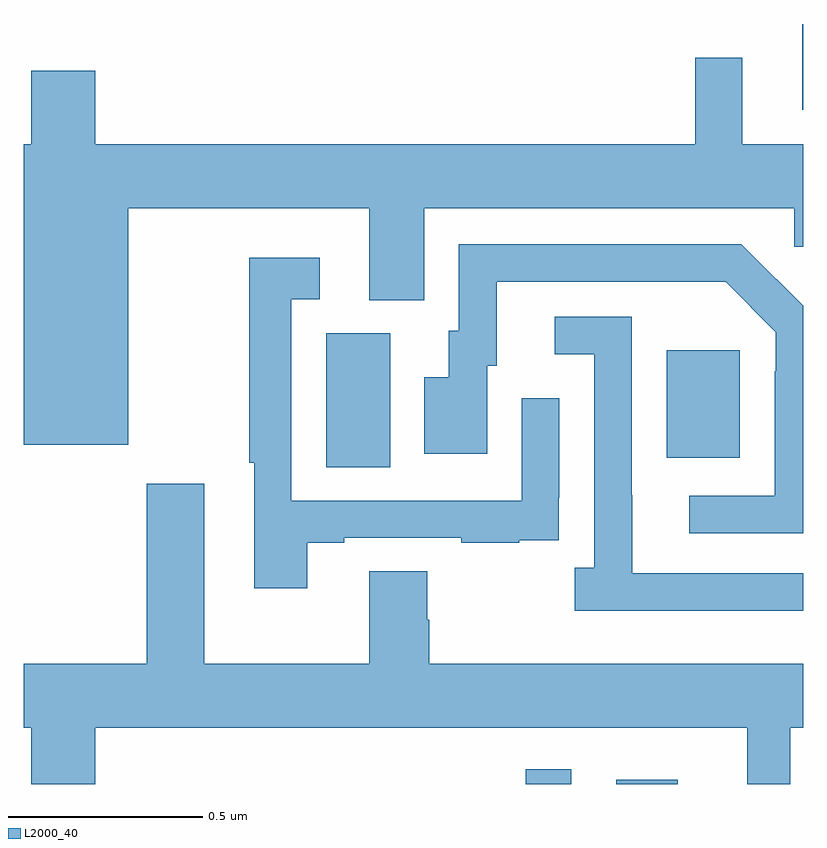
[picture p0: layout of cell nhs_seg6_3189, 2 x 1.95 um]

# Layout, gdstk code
import gdstk
lib = gdstk.Library(unit=1e-6, precision=1e-09)
def R(c, l, rs):  # rectangles x0, y0, x1, y1
    for r in rs: c.add(gdstk.rectangle(r[:2], r[2:], *l))
def P(c, l, *ps):  # polygons
    for p in ps: c.add(gdstk.Polygon(p, *l))
L2000_40 = (2000, 40)

nhs_seg6_3189 = lib.new_cell('nhs_seg6_3189')
R(nhs_seg6_3189, L2000_40, [(154.288,972.5,154.404,972.538), (154.52,972.5,154.678,972.511), (153.776,973.312,153.94,973.656), (154.649,973.337,154.837,973.612), (154.997,974.229,155,974.449)])
P(nhs_seg6_3189, L2000_40, [(153.268,973.976),(153.887,973.976),(153.887,973.741),(154.027,973.741),(154.027,973.976),(154.977,973.976),(154.977,973.878),(155,973.878),(155,974.14),(154.843,974.14),(154.843,974.362),(154.722,974.362),(154.722,974.14),(153.184,974.14),(153.184,974.329),(153.02,974.329),(153.02,974.14),(153,974.14),(153,973.37),(153.268,973.37)],
  [(155,973.726),(154.932,973.794),(154.931,973.793),(154.84,973.884),(154.116,973.884),(154.116,973.662),(154.091,973.662),(154.091,973.543),(154.028,973.543),(154.028,973.347),(154.189,973.347),(154.189,973.572),(154.213,973.572),(154.213,973.788),(154.801,973.788),(154.929,973.659),(154.929,973.559),(154.926,973.559),(154.926,973.239),(154.707,973.239),(154.707,973.143),(155,973.143)],
  [(153.727,973.119),(153.823,973.119),(153.823,973.131),(154.123,973.131),(154.123,973.119),(154.271,973.119),(154.271,973.125),(154.373,973.125),(154.373,973.234),(154.374,973.234),(154.374,973.489),(154.278,973.489),(154.278,973.227),(153.687,973.227),(153.687,973.743),(153.76,973.743),(153.76,973.849),(153.579,973.849),(153.579,973.324),(153.591,973.324),(153.591,973.002),(153.727,973.002)],
  [(155,973.041),(154.561,973.041),(154.561,973.241),(154.56,973.241),(154.56,973.698),(154.362,973.698),(154.362,973.602),(154.464,973.602),(154.464,973.054),(154.413,973.054),(154.413,972.944),(155,972.944)],
  [(153.184,972.644),(154.856,972.644),(154.856,972.5),(154.966,972.5),(154.966,972.644),(155,972.644),(155,972.808),(154.04,972.808),(154.04,972.921),(154.035,972.921),(154.035,973.046),(153.887,973.046),(153.887,972.808),(153.463,972.808),(153.463,973.27),(153.316,973.27),(153.316,972.808),(153,972.808),(153,972.644),(153.02,972.644),(153.02,972.5),(153.184,972.5)])

lib.write_gds('nhs_seg6_3189.gds')
